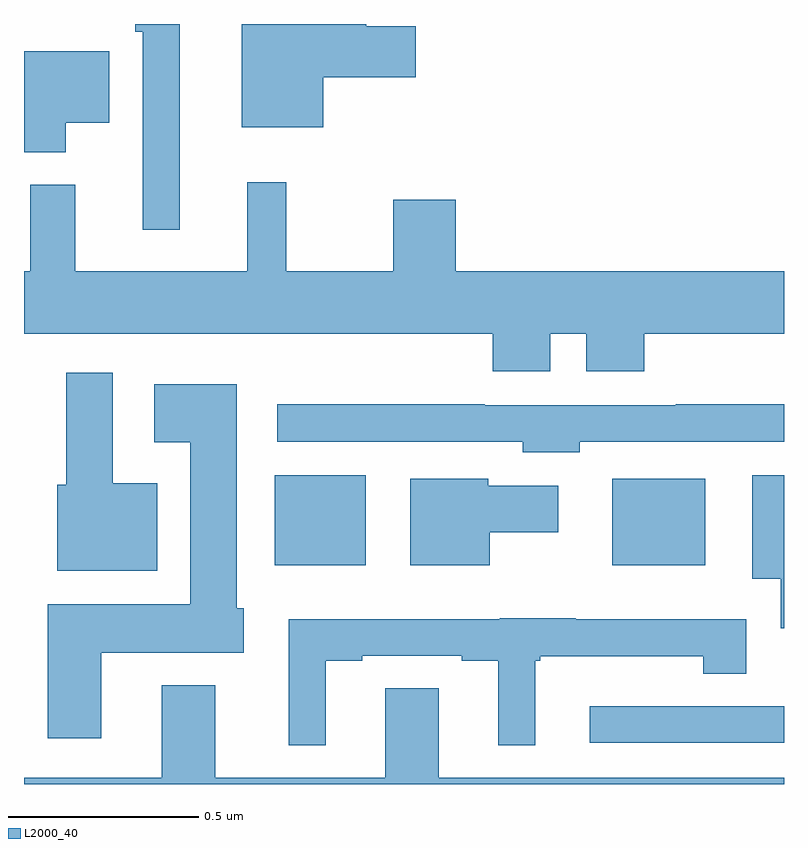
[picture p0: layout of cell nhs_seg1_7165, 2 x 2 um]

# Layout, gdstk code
import gdstk
lib = gdstk.Library(unit=1e-6, precision=1e-09)
def R(c, l, rs):  # rectangles x0, y0, x1, y1
    for r in rs: c.add(gdstk.rectangle(r[:2], r[2:], *l))
def P(c, l, *ps):  # polygons
    for p in ps: c.add(gdstk.Polygon(p, *l))
L2000_40 = (2000, 40)

nhs_seg1_7165 = lib.new_cell('nhs_seg1_7165')
R(nhs_seg1_7165, L2000_40, [(201.489,565.308,202,565.404), (200.66,565.775,200.899,566.011), (201.548,565.775,201.793,566.002)])
P(nhs_seg1_7165, L2000_40, [(200.788,567.059),(201.031,567.059),(201.031,567.193),(200.901,567.193),(200.901,567.199),(200.573,567.199),(200.573,566.927),(200.788,566.927)],
  [(200.41,567.199),(200.293,567.199),(200.293,567.179),(200.313,567.179),(200.313,566.658),(200.41,566.658)],
  [(200.11,566.939),(200.224,566.939),(200.224,567.127),(200,567.127),(200,566.861),(200.11,566.861)],
  [(201.385,566.384),(201.479,566.384),(201.479,566.285),(201.632,566.285),(201.632,566.384),(202,566.384),(202,566.548),(201.136,566.548),(201.136,566.737),(200.972,566.737),(200.972,566.548),(200.69,566.548),(200.69,566.782),(200.588,566.782),(200.588,566.548),(200.135,566.548),(200.135,566.776),(200.017,566.776),(200.017,566.548),(200,566.548),(200,566.384),(201.233,566.384),(201.233,566.285),(201.385,566.285)],
  [(200.35,565.99),(200.233,565.99),(200.233,566.281),(200.111,566.281),(200.111,565.986),(200.087,565.986),(200.087,565.76),(200.35,565.76)],
  [(200.203,565.544),(200.578,565.544),(200.578,565.662),(200.56,565.662),(200.56,566.251),(200.343,566.251),(200.343,566.099),(200.438,566.099),(200.438,565.672),(200.063,565.672),(200.063,565.32),(200.203,565.32)],
  [(201.462,566.1),(202,566.1),(202,566.198),(201.715,566.198),(201.715,566.196),(201.212,566.196),(201.212,566.198),(200.667,566.198),(200.667,566.1),(201.312,566.1),(201.312,566.072),(201.462,566.072)],
  [(202,566.011),(201.917,566.011),(201.917,565.739),(201.992,565.739),(201.992,565.609),(202,565.609)],
  [(201.226,565.862),(201.406,565.862),(201.406,565.984),(201.222,565.984),(201.222,566.002),(201.017,566.002),(201.017,565.775),(201.226,565.775)],
  [(200.794,565.524),(200.89,565.524),(200.89,565.536),(201.152,565.536),(201.152,565.524),(201.248,565.524),(201.248,565.301),(201.346,565.301),(201.346,565.524),(201.358,565.524),(201.358,565.535),(201.788,565.535),(201.788,565.489),(201.901,565.489),(201.901,565.633),(201.452,565.633),(201.452,565.635),(201.252,565.635),(201.252,565.633),(200.697,565.633),(200.697,565.301),(200.794,565.301)],
  [(202,565.216),(201.091,565.216),(201.091,565.451),(200.951,565.451),(200.951,565.216),(200.503,565.216),(200.503,565.459),(200.363,565.459),(200.363,565.216),(200,565.216),(200,565.199),(202,565.199)])

lib.write_gds('nhs_seg1_7165.gds')
